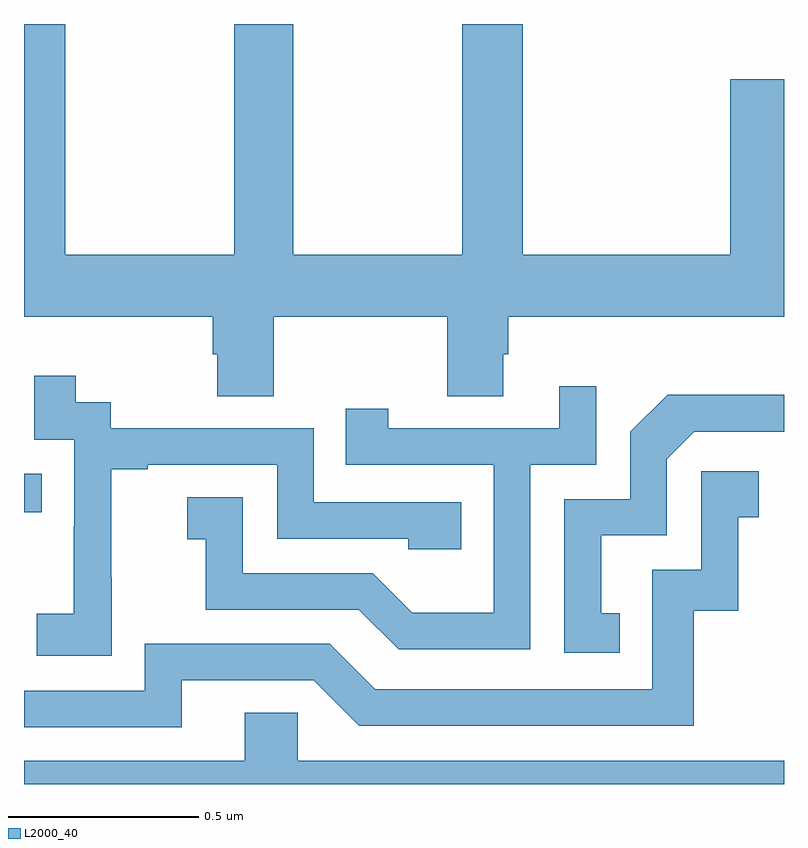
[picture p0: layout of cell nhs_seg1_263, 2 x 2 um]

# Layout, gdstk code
import gdstk
lib = gdstk.Library(unit=1e-6, precision=1e-09)
def R(c, l, rs):  # rectangles x0, y0, x1, y1
    for r in rs: c.add(gdstk.rectangle(r[:2], r[2:], *l))
def P(c, l, *ps):  # polygons
    for p in ps: c.add(gdstk.Polygon(p, *l))
L2000_40 = (2000, 40)

nhs_seg1_263 = lib.new_cell('nhs_seg1_263')
R(nhs_seg1_263, L2000_40, [(114,521.914,114.047,522.015)])
P(nhs_seg1_263, L2000_40, [(114.657,522.428),(115.114,522.428),(115.114,522.22),(115.261,522.22),(115.261,522.33),(115.274,522.33),(115.274,522.428),(116,522.428),(116,523.054),(115.859,523.054),(115.859,522.592),(115.313,522.592),(115.313,523.199),(115.153,523.199),(115.153,522.592),(114.708,522.592),(114.708,523.199),(114.553,523.199),(114.553,522.592),(114.108,522.592),(114.108,523.199),(114,523.199),(114,522.428),(114.497,522.428),(114.497,522.33),(114.509,522.33),(114.509,522.22),(114.657,522.22)],
  [(114.231,521.743),(114.23,521.743),(114.23,522.027),(114.325,522.027),(114.325,522.039),(114.666,522.039),(114.666,521.844),(115.011,521.844),(115.011,521.817),(115.151,521.817),(115.151,521.94),(114.762,521.94),(114.762,522.135),(114.228,522.135),(114.228,522.204),(114.136,522.204),(114.136,522.274),(114.027,522.274),(114.027,522.105),(114.132,522.105),(114.132,521.876),(114.131,521.876),(114.131,521.647),(114.033,521.647),(114.033,521.537),(114.231,521.537)],
  [(115.332,522.039),(115.506,522.039),(115.506,522.246),(115.409,522.246),(115.409,522.135),(114.958,522.135),(114.958,522.187),(114.847,522.187),(114.847,522.039),(115.236,522.039),(115.236,521.65),(115.022,521.65),(114.918,521.754),(114.576,521.754),(114.576,521.953),(114.429,521.953),(114.429,521.843),(114.478,521.843),(114.478,521.658),(114.881,521.658),(114.986,521.553),(115.332,521.553)],
  [(115.568,521.649),(115.519,521.649),(115.519,521.853),(115.692,521.853),(115.692,522.054),(115.764,522.126),(116,522.126),(116,522.224),(115.694,522.224),(115.596,522.126),(115.596,521.949),(115.422,521.949),(115.422,521.544),(115.568,521.544)],
  [(114.415,521.472),(114.762,521.472),(114.882,521.352),(115.762,521.352),(115.762,521.655),(115.88,521.655),(115.88,521.901),(115.933,521.901),(115.933,522.022),(115.782,522.022),(115.782,521.763),(115.653,521.763),(115.653,521.448),(114.924,521.448),(114.804,521.568),(114.318,521.568),(114.318,521.445),(114,521.445),(114,521.349),(114.415,521.349)],
  [(116,521.26),(114.72,521.26),(114.72,521.387),(114.581,521.387),(114.581,521.26),(114,521.26),(114,521.199),(116,521.199)])

lib.write_gds('nhs_seg1_263.gds')
